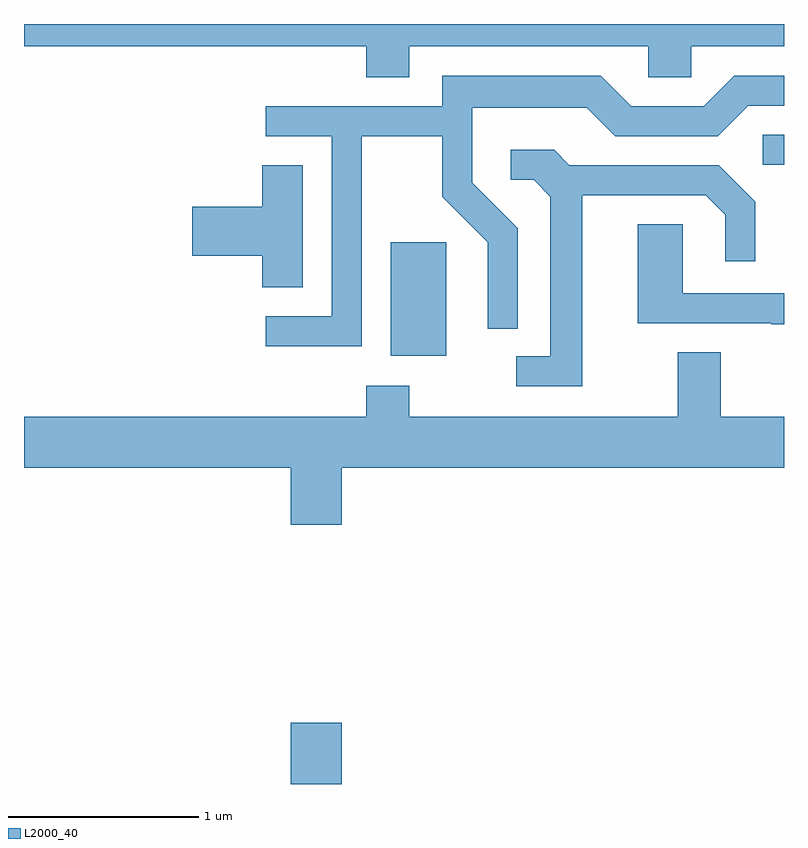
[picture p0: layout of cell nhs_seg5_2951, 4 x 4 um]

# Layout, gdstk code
import gdstk
lib = gdstk.Library(unit=1e-6, precision=1e-09)
def R(c, l, rs):  # rectangles x0, y0, x1, y1
    for r in rs: c.add(gdstk.rectangle(r[:2], r[2:], *l))
def P(c, l, *ps):  # polygons
    for p in ps: c.add(gdstk.Polygon(p, *l))
L2000_40 = (2000, 40)

nhs_seg5_2951 = lib.new_cell('nhs_seg5_2951')
R(nhs_seg5_2951, L2000_40, [(275.016,1404.072,275.284,1404.394), (275.541,1406.326,275.834,1406.924), (277.498,1407.331,277.611,1407.489)])
P(nhs_seg5_2951, L2000_40, [(275.639,1407.956),(276.896,1407.956),(276.896,1407.791),(277.124,1407.791),(277.124,1407.956),(277.611,1407.956),(277.611,1408.072),(273.611,1408.072),(273.611,1407.956),(275.411,1407.956),(275.411,1407.791),(275.639,1407.791)],
  [(275.389,1407.481),(275.811,1407.481),(275.811,1407.164),(276.051,1406.924),(276.051,1406.468),(276.209,1406.468),(276.209,1406.997),(275.969,1407.237),(275.969,1407.631),(276.574,1407.631),(276.724,1407.481),(277.262,1407.481),(277.422,1407.641),(277.611,1407.641),(277.611,1407.799),(277.349,1407.799),(277.189,1407.639),(276.807,1407.639),(276.647,1407.799),(275.811,1407.799),(275.811,1407.639),(274.883,1407.639),(274.883,1407.481),(275.231,1407.481),(275.231,1406.534),(274.883,1406.534),(274.883,1406.376),(275.389,1406.376)],
  [(276.549,1407.171),(277.199,1407.171),(277.301,1407.069),(277.301,1406.823),(277.459,1406.823),(277.459,1407.137),(277.267,1407.329),(276.482,1407.329),(276.402,1407.409),(276.173,1407.409),(276.173,1407.251),(276.294,1407.251),(276.381,1407.164),(276.381,1406.324),(276.203,1406.324),(276.203,1406.166),(276.549,1406.166)],
  [(275.079,1407.329),(274.866,1407.329),(274.866,1407.109),(274.496,1407.109),(274.496,1406.851),(274.866,1406.851),(274.866,1406.686),(275.079,1406.686)],
  [(277.611,1406.654),(277.079,1406.654),(277.079,1407.019),(276.841,1407.019),(276.841,1406.496),(277.545,1406.496),(277.545,1406.491),(277.611,1406.491)],
  [(275.284,1405.736),(277.611,1405.736),(277.611,1406.004),(277.279,1406.004),(277.279,1406.344),(277.051,1406.344),(277.051,1406.004),(275.639,1406.004),(275.639,1406.169),(275.411,1406.169),(275.411,1406.004),(273.611,1406.004),(273.611,1405.736),(275.016,1405.736),(275.016,1405.436),(275.284,1405.436)])

lib.write_gds('nhs_seg5_2951.gds')
